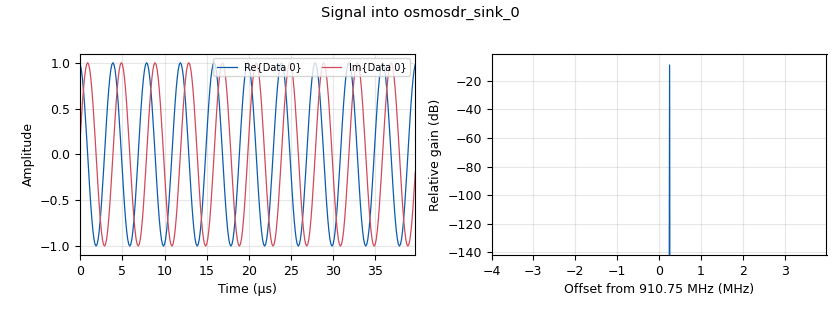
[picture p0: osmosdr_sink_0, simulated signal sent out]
<?xml version='1.0' encoding='utf-8'?>
<?grc format='1' created='3.7.11'?>
<flow_graph>
<block>
<key>options</key>
<param><key>id</key><value>top_block</value></param>
<param><key>category</key><value>Custom</value></param>
<param><key>generate_options</key><value>wx_gui</value></param>
</block>
<block>
<key>variable</key>
<param><key>id</key><value>freq</value></param>
<param><key>value</key><value>freq_set-250e3</value></param>
</block>
<block>
<key>variable_text_box</key>
<param><key>id</key><value>freq_set</value></param>
<param><key>converver</key><value>float_converter</value></param>
<param><key>value</key><value>911e6</value></param>
<param><key>formatter</key><value>None</value></param>
<param><key>label</key><value></value></param>
</block>
<block>
<key>variable_text_box</key>
<param><key>id</key><value>gain</value></param>
<param><key>converver</key><value>float_converter</value></param>
<param><key>value</key><value>0</value></param>
<param><key>formatter</key><value>None</value></param>
<param><key>label</key><value></value></param>
</block>
<block>
<key>variable</key>
<param><key>id</key><value>samp_rate</value></param>
<param><key>value</key><value>8e6</value></param>
</block>
<block>
<key>analog_sig_source_x</key>
<param><key>id</key><value>analog_sig_source_x_0_2</value></param>
<param><key>amp</key><value>1</value></param>
<param><key>freq</key><value>250e3</value></param>
<param><key>offset</key><value>0</value></param>
<param><key>type</key><value>complex</value></param>
<param><key>samp_rate</key><value>samp_rate</value></param>
<param><key>waveform</key><value>analog.GR_COS_WAVE</value></param>
</block>
<block>
<key>note</key>
<param><key>id</key><value>note_0</value></param>
<param><key>comment</key><value>Transmits a sine (cosine) wave using HackRF (or with any OSMOCOM source).
Change device arguments as necessary.</value></param>
</block>
<block>
<key>osmosdr_sink</key>
<param><key>id</key><value>osmosdr_sink_0</value></param>
<param><key>bb_gain0</key><value>0</value></param>
<param><key>bw0</key><value>samp_rate</value></param>
<param><key>freq0</key><value>freq</value></param>
<param><key>if_gain0</key><value>gain</value></param>
<param><key>gain0</key><value>0</value></param>
<param><key>args</key><value>hackrf=337f29cf</value></param>
<param><key>type</key><value>fc32</value></param>
<param><key>sample_rate</key><value>samp_rate</value></param>
<param><key>sync</key><value></value></param>
</block>
<connection><source_block_id>analog_sig_source_x_0_2</source_block_id><sink_block_id>osmosdr_sink_0</sink_block_id><source_key>0</source_key><sink_key>0</sink_key></connection>
</flow_graph>
